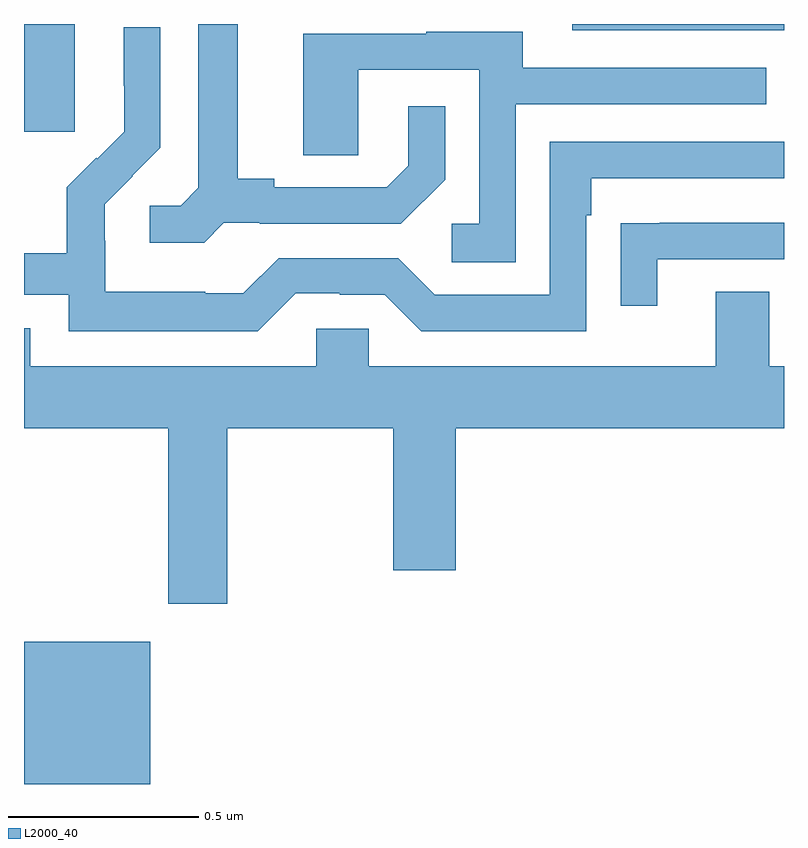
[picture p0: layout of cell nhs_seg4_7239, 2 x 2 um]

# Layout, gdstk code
import gdstk
lib = gdstk.Library(unit=1e-6, precision=1e-09)
def R(c, l, rs):  # rectangles x0, y0, x1, y1
    for r in rs: c.add(gdstk.rectangle(r[:2], r[2:], *l))
def P(c, l, *ps):  # polygons
    for p in ps: c.add(gdstk.Polygon(p, *l))
L2000_40 = (2000, 40)

nhs_seg4_7239 = lib.new_cell('nhs_seg4_7239')
R(nhs_seg4_7239, L2000_40, [(200,779.9,200.332,780.274), (200,781.617,200.134,781.9), (201.443,781.884,202,781.9)])
P(nhs_seg4_7239, L2000_40, [(200.526,781.377),(200.62,781.377),(200.62,781.374),(200.992,781.374),(201.108,781.49),(201.108,781.684),(201.011,781.684),(201.011,781.527),(200.954,781.47),(200.659,781.47),(200.659,781.493),(200.563,781.493),(200.563,781.9),(200.459,781.9),(200.459,781.469),(200.412,781.422),(200.331,781.422),(200.331,781.325),(200.474,781.325)],
  [(200.715,781.191),(200.831,781.191),(200.831,781.188),(200.949,781.188),(201.045,781.092),(201.48,781.092),(201.48,781.397),(201.493,781.397),(201.493,781.494),(202,781.494),(202,781.59),(201.384,781.59),(201.384,781.188),(201.081,781.188),(200.985,781.284),(200.67,781.284),(200.577,781.191),(200.477,781.191),(200.477,781.195),(200.214,781.195),(200.214,781.329),(200.212,781.329),(200.212,781.426),(200.286,781.5),(200.285,781.501),(200.358,781.574),(200.358,781.892),(200.262,781.892),(200.262,781.738),(200.264,781.738),(200.264,781.616),(200.193,781.545),(200.19,781.548),(200.113,781.471),(200.113,781.297),(200,781.297),(200,781.188),(200.118,781.188),(200.118,781.091),(200.615,781.091)],
  [(201.294,781.689),(201.953,781.689),(201.953,781.785),(201.313,781.785),(201.313,781.879),(201.059,781.879),(201.059,781.875),(200.735,781.875),(200.735,781.555),(200.88,781.555),(200.88,781.779),(201.198,781.779),(201.198,781.374),(201.126,781.374),(201.126,781.273),(201.294,781.273)],
  [(201.667,781.281),(202,781.281),(202,781.377),(201.673,781.377),(201.673,781.376),(201.571,781.376),(201.571,781.158),(201.667,781.158)],
  [(200.535,780.836),(200.972,780.836),(200.972,780.462),(201.136,780.462),(201.136,780.836),(202,780.836),(202,781),(201.961,781),(201.961,781.195),(201.821,781.195),(201.821,781),(200.907,781),(200.907,781.098),(200.769,781.098),(200.769,781),(200.017,781),(200.017,781.099),(200,781.099),(200,780.836),(200.38,780.836),(200.38,780.375),(200.535,780.375)])

lib.write_gds('nhs_seg4_7239.gds')
